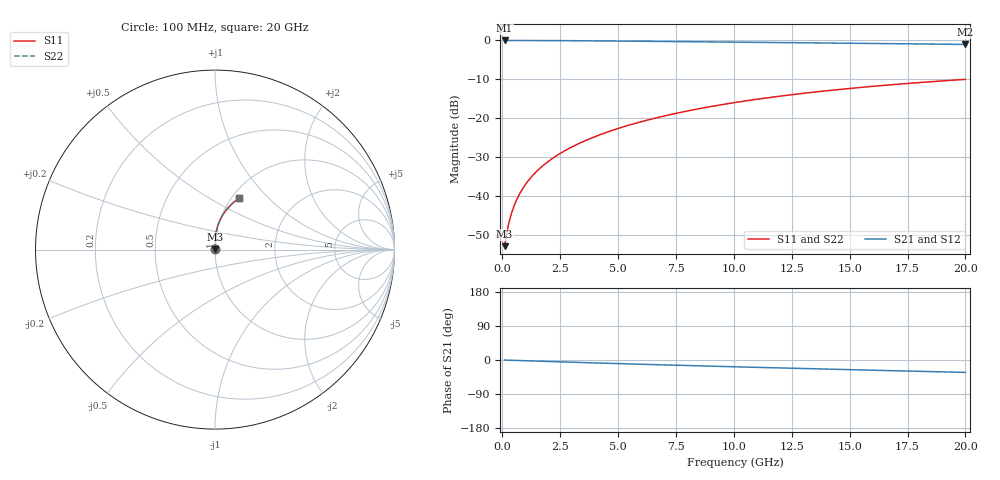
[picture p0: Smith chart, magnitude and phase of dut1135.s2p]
! Touchstone file exported from HFSS 2024.1.0
!  File:  C:/UserFiles/LocalFiles/RDL_TSV_Batchsim/temp_RDL_bottom_1135_1780055419.aedt
!  Generated:  07:52:57 PM May 29, 2026
!  Design:  RDL_bottom
!  Project:  temp_RDL_bottom_1135_1780055419
!  Setup:  Setup1
!  Solution:  Sweep
! Variables:
!  dtsv = 10.80580581um
!  hbump = 3um
!  htsv = 75.22um
!  ldown = 434.89um
!  lrdl = 100um
!  p = 40
!  p1 = 57.82um
!  rhole = 1um
!  t = 450um
!  tdown = 4.05um
!  trdl = 3.915915916um
!  wdown = 25.1um
!  wrdl = 20um
# GHz S MA R 50.000000
! Terminal data exported
! Port[1] = RDL1_T1
! Port[2] = RDL1_T2
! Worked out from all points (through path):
!   200 points, 100 MHz to 20 GHz, reference 50 ohm
!   highest |S21| = -0.02 dB at 100 MHz (marker M1); lowest = -1.0 dB at 20 GHz (marker M2)
!   group delay of S21, straight-line fit = 4.49 ps
!   lowest |S11| = -52.8 dB at 100 MHz (marker M3), VSWR 1.00, Z = 50.2 + j0.154 ohm
!   |S11| at or under -10 dB: start of sweep to 19.97 GHz
!   |S22| runs from -52.8 to -10.0 dB; largest |S21 - S12| = 4.1e-15
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0.1  0.002303 41.8  0.9983 -0.2  0.9983 -0.2  0.002303 41.8
! Gamma 0 0 0 0
! Port Impedance 50 0 50 0
0.2  0.003506 58.8  0.9981 -0.4  0.9981 -0.4  0.003506 58.8
0.3  0.004798 66.6  0.998 -0.6  0.998 -0.6  0.004798 66.6
0.4  0.006108 71.2  0.9979 -0.8  0.9979 -0.8  0.006108 71.2
0.5  0.007431 74.4  0.9978 -1.0  0.9978 -1.0  0.007431 74.3
0.6  0.008766 76.6  0.9976 -1.2  0.9976 -1.2  0.008766 76.6
0.8  0.01147 79.7  0.9974 -1.6  0.9974 -1.6  0.01147 79.7
1.1  0.01559 82.5  0.9969 -2.2  0.9969 -2.2  0.01559 82.5
1.5  0.02118 84.6  0.996 -3.0  0.996 -3.0  0.02118 84.6
1.8  0.02543 85.6  0.9952 -3.6  0.9952 -3.6  0.02543 85.6
2.1  0.02974 86.3  0.9943 -4.1  0.9943 -4.1  0.02974 86.3
2.7  0.03852 87.1  0.9922 -5.3  0.9922 -5.3  0.03851 87.1
3.5  0.05058 87.6  0.9887 -6.8  0.9887 -6.8  0.05057 87.6
4.2  0.06147 87.6  0.9853 -8.1  0.9853 -8.1  0.06146 87.6
5  0.07428 87.3  0.9809 -9.5  0.9809 -9.5  0.07427 87.3
6.8  0.1042 85.7  0.9704 -12.6  0.9704 -12.6  0.1042 85.6
8.4  0.1316 83.5  0.9606 -15.3  0.9606 -15.3  0.1315 83.5
10.1  0.1608 81.0  0.9501 -18.0  0.9501 -18.0  0.1607 80.9
11.7  0.188 78.3  0.9402 -20.5  0.9402 -20.5  0.1879 78.3
13.4  0.2162 75.5  0.9297 -23.1  0.9297 -23.1  0.2162 75.5
16.7  0.2685 70.1  0.909 -28.0  0.909 -28.0  0.2684 70.1
20  0.3166 64.9  0.888 -32.7  0.888 -32.7  0.3166 64.8
